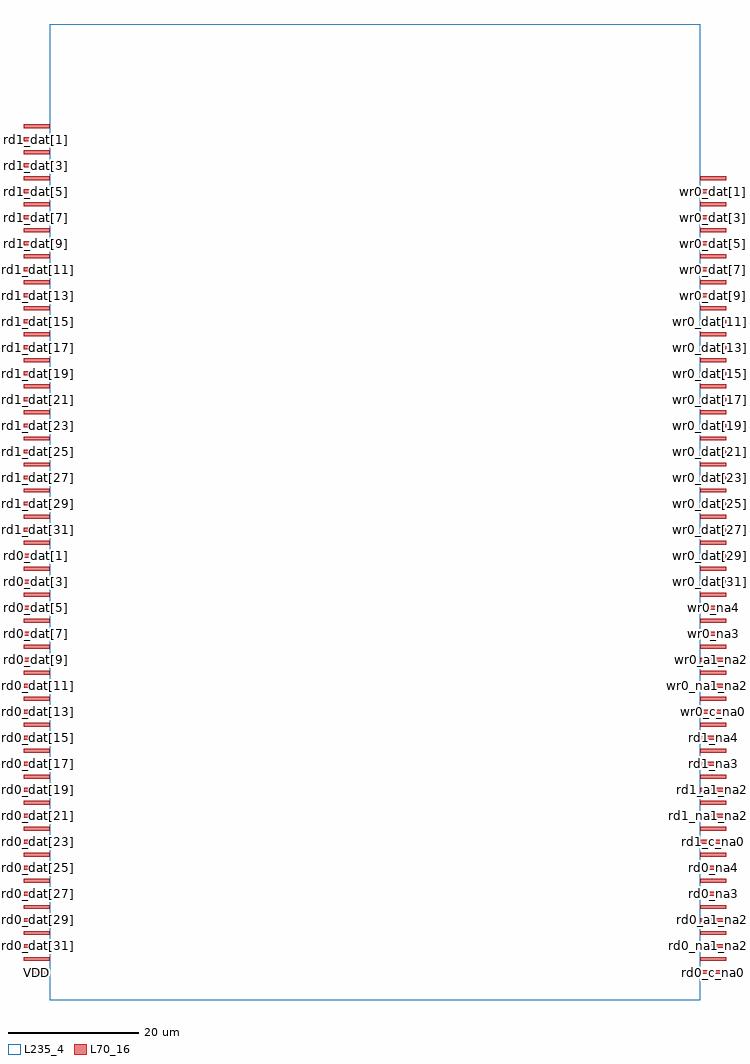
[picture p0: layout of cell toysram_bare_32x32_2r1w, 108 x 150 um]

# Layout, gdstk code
import gdstk
lib = gdstk.Library(unit=1e-6, precision=1e-09)
def R(c, l, rs):  # rectangles x0, y0, x1, y1
    for r in rs: c.add(gdstk.rectangle(r[:2], r[2:], *l))
L70_16 = (70, 16)
L235_4 = (235, 4)

vdd = lib.new_cell('VDD')
R(vdd, L70_16, [(-4,4,0,4.6)])

gnd = lib.new_cell('GND')
R(gnd, L70_16, [(-4,6,0,6.6)])

rd0_c_na0 = lib.new_cell('rd0_c_na0')
R(rd0_c_na0, L70_16, [(100,4,104,4.6)])

rd0_c_a0 = lib.new_cell('rd0_c_a0')
R(rd0_c_a0, L70_16, [(100,6,104,6.6)])

rd0_na1_na2 = lib.new_cell('rd0_na1_na2')
R(rd0_na1_na2, L70_16, [(100,8,104,8.6)])

rd0_na1_a2 = lib.new_cell('rd0_na1_a2')
R(rd0_na1_a2, L70_16, [(100,10,104,10.6)])

rd0_a1_na2 = lib.new_cell('rd0_a1_na2')
R(rd0_a1_na2, L70_16, [(100,12,104,12.6)])

rd0_a1_a2 = lib.new_cell('rd0_a1_a2')
R(rd0_a1_a2, L70_16, [(100,14,104,14.6)])

rd0_na3 = lib.new_cell('rd0_na3')
R(rd0_na3, L70_16, [(100,16,104,16.6)])

rd0_a3 = lib.new_cell('rd0_a3')
R(rd0_a3, L70_16, [(100,18,104,18.6)])

rd0_na4 = lib.new_cell('rd0_na4')
R(rd0_na4, L70_16, [(100,20,104,20.6)])

rd0_a4 = lib.new_cell('rd0_a4')
R(rd0_a4, L70_16, [(100,22,104,22.6)])

rd1_c_na0 = lib.new_cell('rd1_c_na0')
R(rd1_c_na0, L70_16, [(100,24,104,24.6)])

rd1_c_a0 = lib.new_cell('rd1_c_a0')
R(rd1_c_a0, L70_16, [(100,26,104,26.6)])

rd1_na1_na2 = lib.new_cell('rd1_na1_na2')
R(rd1_na1_na2, L70_16, [(100,28,104,28.6)])

rd1_na1_a2 = lib.new_cell('rd1_na1_a2')
R(rd1_na1_a2, L70_16, [(100,30,104,30.6)])

rd1_a1_na2 = lib.new_cell('rd1_a1_na2')
R(rd1_a1_na2, L70_16, [(100,32,104,32.6)])

rd1_a1_a2 = lib.new_cell('rd1_a1_a2')
R(rd1_a1_a2, L70_16, [(100,34,104,34.6)])

rd1_na3 = lib.new_cell('rd1_na3')
R(rd1_na3, L70_16, [(100,36,104,36.6)])

rd1_a3 = lib.new_cell('rd1_a3')
R(rd1_a3, L70_16, [(100,38,104,38.6)])

rd1_na4 = lib.new_cell('rd1_na4')
R(rd1_na4, L70_16, [(100,40,104,40.6)])

rd1_a4 = lib.new_cell('rd1_a4')
R(rd1_a4, L70_16, [(100,42,104,42.6)])

wr0_c_na0 = lib.new_cell('wr0_c_na0')
R(wr0_c_na0, L70_16, [(100,44,104,44.6)])

wr0_c_a0 = lib.new_cell('wr0_c_a0')
R(wr0_c_a0, L70_16, [(100,46,104,46.6)])

wr0_na1_na2 = lib.new_cell('wr0_na1_na2')
R(wr0_na1_na2, L70_16, [(100,48,104,48.6)])

wr0_na1_a2 = lib.new_cell('wr0_na1_a2')
R(wr0_na1_a2, L70_16, [(100,50,104,50.6)])

wr0_a1_na2 = lib.new_cell('wr0_a1_na2')
R(wr0_a1_na2, L70_16, [(100,52,104,52.6)])

wr0_a1_a2 = lib.new_cell('wr0_a1_a2')
R(wr0_a1_a2, L70_16, [(100,54,104,54.6)])

wr0_na3 = lib.new_cell('wr0_na3')
R(wr0_na3, L70_16, [(100,56,104,56.6)])

wr0_a3 = lib.new_cell('wr0_a3')
R(wr0_a3, L70_16, [(100,58,104,58.6)])

wr0_na4 = lib.new_cell('wr0_na4')
R(wr0_na4, L70_16, [(100,60,104,60.6)])

wr0_a4 = lib.new_cell('wr0_a4')
R(wr0_a4, L70_16, [(100,62,104,62.6)])

rd0_dat_31_ = lib.new_cell('rd0_dat[31]')
R(rd0_dat_31_, L70_16, [(-4,8,0,8.6)])

rd0_dat_30_ = lib.new_cell('rd0_dat[30]')
R(rd0_dat_30_, L70_16, [(-4,10,0,10.6)])

rd0_dat_29_ = lib.new_cell('rd0_dat[29]')
R(rd0_dat_29_, L70_16, [(-4,12,0,12.6)])

rd0_dat_28_ = lib.new_cell('rd0_dat[28]')
R(rd0_dat_28_, L70_16, [(-4,14,0,14.6)])

rd0_dat_27_ = lib.new_cell('rd0_dat[27]')
R(rd0_dat_27_, L70_16, [(-4,16,0,16.6)])

rd0_dat_26_ = lib.new_cell('rd0_dat[26]')
R(rd0_dat_26_, L70_16, [(-4,18,0,18.6)])

rd0_dat_25_ = lib.new_cell('rd0_dat[25]')
R(rd0_dat_25_, L70_16, [(-4,20,0,20.6)])

rd0_dat_24_ = lib.new_cell('rd0_dat[24]')
R(rd0_dat_24_, L70_16, [(-4,22,0,22.6)])

rd0_dat_23_ = lib.new_cell('rd0_dat[23]')
R(rd0_dat_23_, L70_16, [(-4,24,0,24.6)])

rd0_dat_22_ = lib.new_cell('rd0_dat[22]')
R(rd0_dat_22_, L70_16, [(-4,26,0,26.6)])

rd0_dat_21_ = lib.new_cell('rd0_dat[21]')
R(rd0_dat_21_, L70_16, [(-4,28,0,28.6)])

rd0_dat_20_ = lib.new_cell('rd0_dat[20]')
R(rd0_dat_20_, L70_16, [(-4,30,0,30.6)])

rd0_dat_19_ = lib.new_cell('rd0_dat[19]')
R(rd0_dat_19_, L70_16, [(-4,32,0,32.6)])

rd0_dat_18_ = lib.new_cell('rd0_dat[18]')
R(rd0_dat_18_, L70_16, [(-4,34,0,34.6)])

rd0_dat_17_ = lib.new_cell('rd0_dat[17]')
R(rd0_dat_17_, L70_16, [(-4,36,0,36.6)])

rd0_dat_16_ = lib.new_cell('rd0_dat[16]')
R(rd0_dat_16_, L70_16, [(-4,38,0,38.6)])

rd0_dat_15_ = lib.new_cell('rd0_dat[15]')
R(rd0_dat_15_, L70_16, [(-4,40,0,40.6)])

rd0_dat_14_ = lib.new_cell('rd0_dat[14]')
R(rd0_dat_14_, L70_16, [(-4,42,0,42.6)])

rd0_dat_13_ = lib.new_cell('rd0_dat[13]')
R(rd0_dat_13_, L70_16, [(-4,44,0,44.6)])

rd0_dat_12_ = lib.new_cell('rd0_dat[12]')
R(rd0_dat_12_, L70_16, [(-4,46,0,46.6)])

rd0_dat_11_ = lib.new_cell('rd0_dat[11]')
R(rd0_dat_11_, L70_16, [(-4,48,0,48.6)])

rd0_dat_10_ = lib.new_cell('rd0_dat[10]')
R(rd0_dat_10_, L70_16, [(-4,50,0,50.6)])

rd0_dat_9_ = lib.new_cell('rd0_dat[9]')
R(rd0_dat_9_, L70_16, [(-4,52,0,52.6)])

rd0_dat_8_ = lib.new_cell('rd0_dat[8]')
R(rd0_dat_8_, L70_16, [(-4,54,0,54.6)])

rd0_dat_7_ = lib.new_cell('rd0_dat[7]')
R(rd0_dat_7_, L70_16, [(-4,56,0,56.6)])

rd0_dat_6_ = lib.new_cell('rd0_dat[6]')
R(rd0_dat_6_, L70_16, [(-4,58,0,58.6)])

rd0_dat_5_ = lib.new_cell('rd0_dat[5]')
R(rd0_dat_5_, L70_16, [(-4,60,0,60.6)])

rd0_dat_4_ = lib.new_cell('rd0_dat[4]')
R(rd0_dat_4_, L70_16, [(-4,62,0,62.6)])

rd0_dat_3_ = lib.new_cell('rd0_dat[3]')
R(rd0_dat_3_, L70_16, [(-4,64,0,64.6)])

rd0_dat_2_ = lib.new_cell('rd0_dat[2]')
R(rd0_dat_2_, L70_16, [(-4,66,0,66.6)])

rd0_dat_1_ = lib.new_cell('rd0_dat[1]')
R(rd0_dat_1_, L70_16, [(-4,68,0,68.6)])

rd0_dat_0_ = lib.new_cell('rd0_dat[0]')
R(rd0_dat_0_, L70_16, [(-4,70,0,70.6)])

rd1_dat_31_ = lib.new_cell('rd1_dat[31]')
R(rd1_dat_31_, L70_16, [(-4,72,0,72.6)])

rd1_dat_30_ = lib.new_cell('rd1_dat[30]')
R(rd1_dat_30_, L70_16, [(-4,74,0,74.6)])

rd1_dat_29_ = lib.new_cell('rd1_dat[29]')
R(rd1_dat_29_, L70_16, [(-4,76,0,76.6)])

rd1_dat_28_ = lib.new_cell('rd1_dat[28]')
R(rd1_dat_28_, L70_16, [(-4,78,0,78.6)])

rd1_dat_27_ = lib.new_cell('rd1_dat[27]')
R(rd1_dat_27_, L70_16, [(-4,80,0,80.6)])

rd1_dat_26_ = lib.new_cell('rd1_dat[26]')
R(rd1_dat_26_, L70_16, [(-4,82,0,82.6)])

rd1_dat_25_ = lib.new_cell('rd1_dat[25]')
R(rd1_dat_25_, L70_16, [(-4,84,0,84.6)])

rd1_dat_24_ = lib.new_cell('rd1_dat[24]')
R(rd1_dat_24_, L70_16, [(-4,86,0,86.6)])

rd1_dat_23_ = lib.new_cell('rd1_dat[23]')
R(rd1_dat_23_, L70_16, [(-4,88,0,88.6)])

rd1_dat_22_ = lib.new_cell('rd1_dat[22]')
R(rd1_dat_22_, L70_16, [(-4,90,0,90.6)])

rd1_dat_21_ = lib.new_cell('rd1_dat[21]')
R(rd1_dat_21_, L70_16, [(-4,92,0,92.6)])

rd1_dat_20_ = lib.new_cell('rd1_dat[20]')
R(rd1_dat_20_, L70_16, [(-4,94,0,94.6)])

rd1_dat_19_ = lib.new_cell('rd1_dat[19]')
R(rd1_dat_19_, L70_16, [(-4,96,0,96.6)])

rd1_dat_18_ = lib.new_cell('rd1_dat[18]')
R(rd1_dat_18_, L70_16, [(-4,98,0,98.6)])

rd1_dat_17_ = lib.new_cell('rd1_dat[17]')
R(rd1_dat_17_, L70_16, [(-4,100,0,100.6)])

rd1_dat_16_ = lib.new_cell('rd1_dat[16]')
R(rd1_dat_16_, L70_16, [(-4,102,0,102.6)])

rd1_dat_15_ = lib.new_cell('rd1_dat[15]')
R(rd1_dat_15_, L70_16, [(-4,104,0,104.6)])

rd1_dat_14_ = lib.new_cell('rd1_dat[14]')
R(rd1_dat_14_, L70_16, [(-4,106,0,106.6)])

rd1_dat_13_ = lib.new_cell('rd1_dat[13]')
R(rd1_dat_13_, L70_16, [(-4,108,0,108.6)])

rd1_dat_12_ = lib.new_cell('rd1_dat[12]')
R(rd1_dat_12_, L70_16, [(-4,110,0,110.6)])

rd1_dat_11_ = lib.new_cell('rd1_dat[11]')
R(rd1_dat_11_, L70_16, [(-4,112,0,112.6)])

rd1_dat_10_ = lib.new_cell('rd1_dat[10]')
R(rd1_dat_10_, L70_16, [(-4,114,0,114.6)])

rd1_dat_9_ = lib.new_cell('rd1_dat[9]')
R(rd1_dat_9_, L70_16, [(-4,116,0,116.6)])

rd1_dat_8_ = lib.new_cell('rd1_dat[8]')
R(rd1_dat_8_, L70_16, [(-4,118,0,118.6)])

rd1_dat_7_ = lib.new_cell('rd1_dat[7]')
R(rd1_dat_7_, L70_16, [(-4,120,0,120.6)])

rd1_dat_6_ = lib.new_cell('rd1_dat[6]')
R(rd1_dat_6_, L70_16, [(-4,122,0,122.6)])

rd1_dat_5_ = lib.new_cell('rd1_dat[5]')
R(rd1_dat_5_, L70_16, [(-4,124,0,124.6)])

rd1_dat_4_ = lib.new_cell('rd1_dat[4]')
R(rd1_dat_4_, L70_16, [(-4,126,0,126.6)])

rd1_dat_3_ = lib.new_cell('rd1_dat[3]')
R(rd1_dat_3_, L70_16, [(-4,128,0,128.6)])

rd1_dat_2_ = lib.new_cell('rd1_dat[2]')
R(rd1_dat_2_, L70_16, [(-4,130,0,130.6)])

rd1_dat_1_ = lib.new_cell('rd1_dat[1]')
R(rd1_dat_1_, L70_16, [(-4,132,0,132.6)])

rd1_dat_0_ = lib.new_cell('rd1_dat[0]')
R(rd1_dat_0_, L70_16, [(-4,134,0,134.6)])

wr0_dat_31_ = lib.new_cell('wr0_dat[31]')
R(wr0_dat_31_, L70_16, [(100,64,104,64.6)])

wr0_dat_30_ = lib.new_cell('wr0_dat[30]')
R(wr0_dat_30_, L70_16, [(100,66,104,66.6)])

wr0_dat_29_ = lib.new_cell('wr0_dat[29]')
R(wr0_dat_29_, L70_16, [(100,68,104,68.6)])

wr0_dat_28_ = lib.new_cell('wr0_dat[28]')
R(wr0_dat_28_, L70_16, [(100,70,104,70.6)])

wr0_dat_27_ = lib.new_cell('wr0_dat[27]')
R(wr0_dat_27_, L70_16, [(100,72,104,72.6)])

wr0_dat_26_ = lib.new_cell('wr0_dat[26]')
R(wr0_dat_26_, L70_16, [(100,74,104,74.6)])

wr0_dat_25_ = lib.new_cell('wr0_dat[25]')
R(wr0_dat_25_, L70_16, [(100,76,104,76.6)])

wr0_dat_24_ = lib.new_cell('wr0_dat[24]')
R(wr0_dat_24_, L70_16, [(100,78,104,78.6)])

wr0_dat_23_ = lib.new_cell('wr0_dat[23]')
R(wr0_dat_23_, L70_16, [(100,80,104,80.6)])

wr0_dat_22_ = lib.new_cell('wr0_dat[22]')
R(wr0_dat_22_, L70_16, [(100,82,104,82.6)])

wr0_dat_21_ = lib.new_cell('wr0_dat[21]')
R(wr0_dat_21_, L70_16, [(100,84,104,84.6)])

wr0_dat_20_ = lib.new_cell('wr0_dat[20]')
R(wr0_dat_20_, L70_16, [(100,86,104,86.6)])

wr0_dat_19_ = lib.new_cell('wr0_dat[19]')
R(wr0_dat_19_, L70_16, [(100,88,104,88.6)])

wr0_dat_18_ = lib.new_cell('wr0_dat[18]')
R(wr0_dat_18_, L70_16, [(100,90,104,90.6)])

wr0_dat_17_ = lib.new_cell('wr0_dat[17]')
R(wr0_dat_17_, L70_16, [(100,92,104,92.6)])

wr0_dat_16_ = lib.new_cell('wr0_dat[16]')
R(wr0_dat_16_, L70_16, [(100,94,104,94.6)])

wr0_dat_15_ = lib.new_cell('wr0_dat[15]')
R(wr0_dat_15_, L70_16, [(100,96,104,96.6)])

wr0_dat_14_ = lib.new_cell('wr0_dat[14]')
R(wr0_dat_14_, L70_16, [(100,98,104,98.6)])

wr0_dat_13_ = lib.new_cell('wr0_dat[13]')
R(wr0_dat_13_, L70_16, [(100,100,104,100.6)])

wr0_dat_12_ = lib.new_cell('wr0_dat[12]')
R(wr0_dat_12_, L70_16, [(100,102,104,102.6)])

wr0_dat_11_ = lib.new_cell('wr0_dat[11]')
R(wr0_dat_11_, L70_16, [(100,104,104,104.6)])

wr0_dat_10_ = lib.new_cell('wr0_dat[10]')
R(wr0_dat_10_, L70_16, [(100,106,104,106.6)])

wr0_dat_9_ = lib.new_cell('wr0_dat[9]')
R(wr0_dat_9_, L70_16, [(100,108,104,108.6)])

wr0_dat_8_ = lib.new_cell('wr0_dat[8]')
R(wr0_dat_8_, L70_16, [(100,110,104,110.6)])

wr0_dat_7_ = lib.new_cell('wr0_dat[7]')
R(wr0_dat_7_, L70_16, [(100,112,104,112.6)])

wr0_dat_6_ = lib.new_cell('wr0_dat[6]')
R(wr0_dat_6_, L70_16, [(100,114,104,114.6)])

wr0_dat_5_ = lib.new_cell('wr0_dat[5]')
R(wr0_dat_5_, L70_16, [(100,116,104,116.6)])

wr0_dat_4_ = lib.new_cell('wr0_dat[4]')
R(wr0_dat_4_, L70_16, [(100,118,104,118.6)])

wr0_dat_3_ = lib.new_cell('wr0_dat[3]')
R(wr0_dat_3_, L70_16, [(100,120,104,120.6)])

wr0_dat_2_ = lib.new_cell('wr0_dat[2]')
R(wr0_dat_2_, L70_16, [(100,122,104,122.6)])

wr0_dat_1_ = lib.new_cell('wr0_dat[1]')
R(wr0_dat_1_, L70_16, [(100,124,104,124.6)])

wr0_dat_0_ = lib.new_cell('wr0_dat[0]')
R(wr0_dat_0_, L70_16, [(100,126,104,126.6)])

toysram_bare_32x32_2r1w = lib.new_cell('toysram_bare_32x32_2r1w')
R(toysram_bare_32x32_2r1w, L235_4, [(0,0,100,150)])
toysram_bare_32x32_2r1w.add(gdstk.Reference(vdd, (0,0)))
toysram_bare_32x32_2r1w.add(gdstk.Reference(gnd, (0,0)))
toysram_bare_32x32_2r1w.add(gdstk.Reference(rd0_c_na0, (0,0)))
toysram_bare_32x32_2r1w.add(gdstk.Reference(rd0_c_a0, (0,0)))
toysram_bare_32x32_2r1w.add(gdstk.Reference(rd0_na1_na2, (0,0)))
toysram_bare_32x32_2r1w.add(gdstk.Reference(rd0_na1_a2, (0,0)))
toysram_bare_32x32_2r1w.add(gdstk.Reference(rd0_a1_na2, (0,0)))
toysram_bare_32x32_2r1w.add(gdstk.Reference(rd0_a1_a2, (0,0)))
toysram_bare_32x32_2r1w.add(gdstk.Reference(rd0_na3, (0,0)))
toysram_bare_32x32_2r1w.add(gdstk.Reference(rd0_a3, (0,0)))
toysram_bare_32x32_2r1w.add(gdstk.Reference(rd0_na4, (0,0)))
toysram_bare_32x32_2r1w.add(gdstk.Reference(rd0_a4, (0,0)))
toysram_bare_32x32_2r1w.add(gdstk.Reference(rd1_c_na0, (0,0)))
toysram_bare_32x32_2r1w.add(gdstk.Reference(rd1_c_a0, (0,0)))
toysram_bare_32x32_2r1w.add(gdstk.Reference(rd1_na1_na2, (0,0)))
toysram_bare_32x32_2r1w.add(gdstk.Reference(rd1_na1_a2, (0,0)))
toysram_bare_32x32_2r1w.add(gdstk.Reference(rd1_a1_na2, (0,0)))
toysram_bare_32x32_2r1w.add(gdstk.Reference(rd1_a1_a2, (0,0)))
toysram_bare_32x32_2r1w.add(gdstk.Reference(rd1_na3, (0,0)))
toysram_bare_32x32_2r1w.add(gdstk.Reference(rd1_a3, (0,0)))
toysram_bare_32x32_2r1w.add(gdstk.Reference(rd1_na4, (0,0)))
toysram_bare_32x32_2r1w.add(gdstk.Reference(rd1_a4, (0,0)))
toysram_bare_32x32_2r1w.add(gdstk.Reference(wr0_c_na0, (0,0)))
toysram_bare_32x32_2r1w.add(gdstk.Reference(wr0_c_a0, (0,0)))
toysram_bare_32x32_2r1w.add(gdstk.Reference(wr0_na1_na2, (0,0)))
toysram_bare_32x32_2r1w.add(gdstk.Reference(wr0_na1_a2, (0,0)))
toysram_bare_32x32_2r1w.add(gdstk.Reference(wr0_a1_na2, (0,0)))
toysram_bare_32x32_2r1w.add(gdstk.Reference(wr0_a1_a2, (0,0)))
toysram_bare_32x32_2r1w.add(gdstk.Reference(wr0_na3, (0,0)))
toysram_bare_32x32_2r1w.add(gdstk.Reference(wr0_a3, (0,0)))
toysram_bare_32x32_2r1w.add(gdstk.Reference(wr0_na4, (0,0)))
toysram_bare_32x32_2r1w.add(gdstk.Reference(wr0_a4, (0,0)))
toysram_bare_32x32_2r1w.add(gdstk.Reference(rd0_dat_31_, (0,0)))
toysram_bare_32x32_2r1w.add(gdstk.Reference(rd0_dat_30_, (0,0)))
toysram_bare_32x32_2r1w.add(gdstk.Reference(rd0_dat_29_, (0,0)))
toysram_bare_32x32_2r1w.add(gdstk.Reference(rd0_dat_28_, (0,0)))
toysram_bare_32x32_2r1w.add(gdstk.Reference(rd0_dat_27_, (0,0)))
toysram_bare_32x32_2r1w.add(gdstk.Reference(rd0_dat_26_, (0,0)))
toysram_bare_32x32_2r1w.add(gdstk.Reference(rd0_dat_25_, (0,0)))
toysram_bare_32x32_2r1w.add(gdstk.Reference(rd0_dat_24_, (0,0)))
toysram_bare_32x32_2r1w.add(gdstk.Reference(rd0_dat_23_, (0,0)))
toysram_bare_32x32_2r1w.add(gdstk.Reference(rd0_dat_22_, (0,0)))
toysram_bare_32x32_2r1w.add(gdstk.Reference(rd0_dat_21_, (0,0)))
toysram_bare_32x32_2r1w.add(gdstk.Reference(rd0_dat_20_, (0,0)))
toysram_bare_32x32_2r1w.add(gdstk.Reference(rd0_dat_19_, (0,0)))
toysram_bare_32x32_2r1w.add(gdstk.Reference(rd0_dat_18_, (0,0)))
toysram_bare_32x32_2r1w.add(gdstk.Reference(rd0_dat_17_, (0,0)))
toysram_bare_32x32_2r1w.add(gdstk.Reference(rd0_dat_16_, (0,0)))
toysram_bare_32x32_2r1w.add(gdstk.Reference(rd0_dat_15_, (0,0)))
toysram_bare_32x32_2r1w.add(gdstk.Reference(rd0_dat_14_, (0,0)))
toysram_bare_32x32_2r1w.add(gdstk.Reference(rd0_dat_13_, (0,0)))
toysram_bare_32x32_2r1w.add(gdstk.Reference(rd0_dat_12_, (0,0)))
toysram_bare_32x32_2r1w.add(gdstk.Reference(rd0_dat_11_, (0,0)))
toysram_bare_32x32_2r1w.add(gdstk.Reference(rd0_dat_10_, (0,0)))
toysram_bare_32x32_2r1w.add(gdstk.Reference(rd0_dat_9_, (0,0)))
toysram_bare_32x32_2r1w.add(gdstk.Reference(rd0_dat_8_, (0,0)))
toysram_bare_32x32_2r1w.add(gdstk.Reference(rd0_dat_7_, (0,0)))
toysram_bare_32x32_2r1w.add(gdstk.Reference(rd0_dat_6_, (0,0)))
toysram_bare_32x32_2r1w.add(gdstk.Reference(rd0_dat_5_, (0,0)))
toysram_bare_32x32_2r1w.add(gdstk.Reference(rd0_dat_4_, (0,0)))
toysram_bare_32x32_2r1w.add(gdstk.Reference(rd0_dat_3_, (0,0)))
toysram_bare_32x32_2r1w.add(gdstk.Reference(rd0_dat_2_, (0,0)))
toysram_bare_32x32_2r1w.add(gdstk.Reference(rd0_dat_1_, (0,0)))
toysram_bare_32x32_2r1w.add(gdstk.Reference(rd0_dat_0_, (0,0)))
toysram_bare_32x32_2r1w.add(gdstk.Reference(rd1_dat_31_, (0,0)))
toysram_bare_32x32_2r1w.add(gdstk.Reference(rd1_dat_30_, (0,0)))
toysram_bare_32x32_2r1w.add(gdstk.Reference(rd1_dat_29_, (0,0)))
toysram_bare_32x32_2r1w.add(gdstk.Reference(rd1_dat_28_, (0,0)))
toysram_bare_32x32_2r1w.add(gdstk.Reference(rd1_dat_27_, (0,0)))
toysram_bare_32x32_2r1w.add(gdstk.Reference(rd1_dat_26_, (0,0)))
toysram_bare_32x32_2r1w.add(gdstk.Reference(rd1_dat_25_, (0,0)))
toysram_bare_32x32_2r1w.add(gdstk.Reference(rd1_dat_24_, (0,0)))
toysram_bare_32x32_2r1w.add(gdstk.Reference(rd1_dat_23_, (0,0)))
toysram_bare_32x32_2r1w.add(gdstk.Reference(rd1_dat_22_, (0,0)))
toysram_bare_32x32_2r1w.add(gdstk.Reference(rd1_dat_21_, (0,0)))
toysram_bare_32x32_2r1w.add(gdstk.Reference(rd1_dat_20_, (0,0)))
toysram_bare_32x32_2r1w.add(gdstk.Reference(rd1_dat_19_, (0,0)))
toysram_bare_32x32_2r1w.add(gdstk.Reference(rd1_dat_18_, (0,0)))
toysram_bare_32x32_2r1w.add(gdstk.Reference(rd1_dat_17_, (0,0)))
toysram_bare_32x32_2r1w.add(gdstk.Reference(rd1_dat_16_, (0,0)))
toysram_bare_32x32_2r1w.add(gdstk.Reference(rd1_dat_15_, (0,0)))
toysram_bare_32x32_2r1w.add(gdstk.Reference(rd1_dat_14_, (0,0)))
toysram_bare_32x32_2r1w.add(gdstk.Reference(rd1_dat_13_, (0,0)))
toysram_bare_32x32_2r1w.add(gdstk.Reference(rd1_dat_12_, (0,0)))
toysram_bare_32x32_2r1w.add(gdstk.Reference(rd1_dat_11_, (0,0)))
toysram_bare_32x32_2r1w.add(gdstk.Reference(rd1_dat_10_, (0,0)))
toysram_bare_32x32_2r1w.add(gdstk.Reference(rd1_dat_9_, (0,0)))
toysram_bare_32x32_2r1w.add(gdstk.Reference(rd1_dat_8_, (0,0)))
toysram_bare_32x32_2r1w.add(gdstk.Reference(rd1_dat_7_, (0,0)))
toysram_bare_32x32_2r1w.add(gdstk.Reference(rd1_dat_6_, (0,0)))
toysram_bare_32x32_2r1w.add(gdstk.Reference(rd1_dat_5_, (0,0)))
toysram_bare_32x32_2r1w.add(gdstk.Reference(rd1_dat_4_, (0,0)))
toysram_bare_32x32_2r1w.add(gdstk.Reference(rd1_dat_3_, (0,0)))
toysram_bare_32x32_2r1w.add(gdstk.Reference(rd1_dat_2_, (0,0)))
toysram_bare_32x32_2r1w.add(gdstk.Reference(rd1_dat_1_, (0,0)))
toysram_bare_32x32_2r1w.add(gdstk.Reference(rd1_dat_0_, (0,0)))
toysram_bare_32x32_2r1w.add(gdstk.Reference(wr0_dat_31_, (0,0)))
toysram_bare_32x32_2r1w.add(gdstk.Reference(wr0_dat_30_, (0,0)))
toysram_bare_32x32_2r1w.add(gdstk.Reference(wr0_dat_29_, (0,0)))
toysram_bare_32x32_2r1w.add(gdstk.Reference(wr0_dat_28_, (0,0)))
toysram_bare_32x32_2r1w.add(gdstk.Reference(wr0_dat_27_, (0,0)))
toysram_bare_32x32_2r1w.add(gdstk.Reference(wr0_dat_26_, (0,0)))
toysram_bare_32x32_2r1w.add(gdstk.Reference(wr0_dat_25_, (0,0)))
toysram_bare_32x32_2r1w.add(gdstk.Reference(wr0_dat_24_, (0,0)))
toysram_bare_32x32_2r1w.add(gdstk.Reference(wr0_dat_23_, (0,0)))
toysram_bare_32x32_2r1w.add(gdstk.Reference(wr0_dat_22_, (0,0)))
toysram_bare_32x32_2r1w.add(gdstk.Reference(wr0_dat_21_, (0,0)))
toysram_bare_32x32_2r1w.add(gdstk.Reference(wr0_dat_20_, (0,0)))
toysram_bare_32x32_2r1w.add(gdstk.Reference(wr0_dat_19_, (0,0)))
toysram_bare_32x32_2r1w.add(gdstk.Reference(wr0_dat_18_, (0,0)))
toysram_bare_32x32_2r1w.add(gdstk.Reference(wr0_dat_17_, (0,0)))
toysram_bare_32x32_2r1w.add(gdstk.Reference(wr0_dat_16_, (0,0)))
toysram_bare_32x32_2r1w.add(gdstk.Reference(wr0_dat_15_, (0,0)))
toysram_bare_32x32_2r1w.add(gdstk.Reference(wr0_dat_14_, (0,0)))
toysram_bare_32x32_2r1w.add(gdstk.Reference(wr0_dat_13_, (0,0)))
toysram_bare_32x32_2r1w.add(gdstk.Reference(wr0_dat_12_, (0,0)))
toysram_bare_32x32_2r1w.add(gdstk.Reference(wr0_dat_11_, (0,0)))
toysram_bare_32x32_2r1w.add(gdstk.Reference(wr0_dat_10_, (0,0)))
toysram_bare_32x32_2r1w.add(gdstk.Reference(wr0_dat_9_, (0,0)))
toysram_bare_32x32_2r1w.add(gdstk.Reference(wr0_dat_8_, (0,0)))
toysram_bare_32x32_2r1w.add(gdstk.Reference(wr0_dat_7_, (0,0)))
toysram_bare_32x32_2r1w.add(gdstk.Reference(wr0_dat_6_, (0,0)))
toysram_bare_32x32_2r1w.add(gdstk.Reference(wr0_dat_5_, (0,0)))
toysram_bare_32x32_2r1w.add(gdstk.Reference(wr0_dat_4_, (0,0)))
toysram_bare_32x32_2r1w.add(gdstk.Reference(wr0_dat_3_, (0,0)))
toysram_bare_32x32_2r1w.add(gdstk.Reference(wr0_dat_2_, (0,0)))
toysram_bare_32x32_2r1w.add(gdstk.Reference(wr0_dat_1_, (0,0)))
toysram_bare_32x32_2r1w.add(gdstk.Reference(wr0_dat_0_, (0,0)))
toysram_bare_32x32_2r1w.add(gdstk.Label('VDD', (-2,4.3), layer=70, texttype=16))
toysram_bare_32x32_2r1w.add(gdstk.Label('GND', (-2,6.3), layer=70, texttype=16))
toysram_bare_32x32_2r1w.add(gdstk.Label('rd0_c_na0', (102,4.3), layer=70, texttype=16))
toysram_bare_32x32_2r1w.add(gdstk.Label('rd0_c_a0', (102,6.3), layer=70, texttype=16))
toysram_bare_32x32_2r1w.add(gdstk.Label('rd0_na1_na2', (102,8.3), layer=70, texttype=16))
toysram_bare_32x32_2r1w.add(gdstk.Label('rd0_na1_a2', (102,10.3), layer=70, texttype=16))
toysram_bare_32x32_2r1w.add(gdstk.Label('rd0_a1_na2', (102,12.3), layer=70, texttype=16))
toysram_bare_32x32_2r1w.add(gdstk.Label('rd0_a1_a2', (102,14.3), layer=70, texttype=16))
toysram_bare_32x32_2r1w.add(gdstk.Label('rd0_na3', (102,16.3), layer=70, texttype=16))
toysram_bare_32x32_2r1w.add(gdstk.Label('rd0_a3', (102,18.3), layer=70, texttype=16))
toysram_bare_32x32_2r1w.add(gdstk.Label('rd0_na4', (102,20.3), layer=70, texttype=16))
toysram_bare_32x32_2r1w.add(gdstk.Label('rd0_a4', (102,22.3), layer=70, texttype=16))
toysram_bare_32x32_2r1w.add(gdstk.Label('rd1_c_na0', (102,24.3), layer=70, texttype=16))
toysram_bare_32x32_2r1w.add(gdstk.Label('rd1_c_a0', (102,26.3), layer=70, texttype=16))
toysram_bare_32x32_2r1w.add(gdstk.Label('rd1_na1_na2', (102,28.3), layer=70, texttype=16))
toysram_bare_32x32_2r1w.add(gdstk.Label('rd1_na1_a2', (102,30.3), layer=70, texttype=16))
toysram_bare_32x32_2r1w.add(gdstk.Label('rd1_a1_na2', (102,32.3), layer=70, texttype=16))
toysram_bare_32x32_2r1w.add(gdstk.Label('rd1_a1_a2', (102,34.3), layer=70, texttype=16))
toysram_bare_32x32_2r1w.add(gdstk.Label('rd1_na3', (102,36.3), layer=70, texttype=16))
toysram_bare_32x32_2r1w.add(gdstk.Label('rd1_a3', (102,38.3), layer=70, texttype=16))
toysram_bare_32x32_2r1w.add(gdstk.Label('rd1_na4', (102,40.3), layer=70, texttype=16))
toysram_bare_32x32_2r1w.add(gdstk.Label('rd1_a4', (102,42.3), layer=70, texttype=16))
toysram_bare_32x32_2r1w.add(gdstk.Label('wr0_c_na0', (102,44.3), layer=70, texttype=16))
toysram_bare_32x32_2r1w.add(gdstk.Label('wr0_c_a0', (102,46.3), layer=70, texttype=16))
toysram_bare_32x32_2r1w.add(gdstk.Label('wr0_na1_na2', (102,48.3), layer=70, texttype=16))
toysram_bare_32x32_2r1w.add(gdstk.Label('wr0_na1_a2', (102,50.3), layer=70, texttype=16))
toysram_bare_32x32_2r1w.add(gdstk.Label('wr0_a1_na2', (102,52.3), layer=70, texttype=16))
toysram_bare_32x32_2r1w.add(gdstk.Label('wr0_a1_a2', (102,54.3), layer=70, texttype=16))
toysram_bare_32x32_2r1w.add(gdstk.Label('wr0_na3', (102,56.3), layer=70, texttype=16))
toysram_bare_32x32_2r1w.add(gdstk.Label('wr0_a3', (102,58.3), layer=70, texttype=16))
toysram_bare_32x32_2r1w.add(gdstk.Label('wr0_na4', (102,60.3), layer=70, texttype=16))
toysram_bare_32x32_2r1w.add(gdstk.Label('wr0_a4', (102,62.3), layer=70, texttype=16))
toysram_bare_32x32_2r1w.add(gdstk.Label('rd0_dat[31]', (-2,8.3), layer=70, texttype=16))
toysram_bare_32x32_2r1w.add(gdstk.Label('rd0_dat[30]', (-2,10.3), layer=70, texttype=16))
toysram_bare_32x32_2r1w.add(gdstk.Label('rd0_dat[29]', (-2,12.3), layer=70, texttype=16))
toysram_bare_32x32_2r1w.add(gdstk.Label('rd0_dat[28]', (-2,14.3), layer=70, texttype=16))
toysram_bare_32x32_2r1w.add(gdstk.Label('rd0_dat[27]', (-2,16.3), layer=70, texttype=16))
toysram_bare_32x32_2r1w.add(gdstk.Label('rd0_dat[26]', (-2,18.3), layer=70, texttype=16))
toysram_bare_32x32_2r1w.add(gdstk.Label('rd0_dat[25]', (-2,20.3), layer=70, texttype=16))
toysram_bare_32x32_2r1w.add(gdstk.Label('rd0_dat[24]', (-2,22.3), layer=70, texttype=16))
toysram_bare_32x32_2r1w.add(gdstk.Label('rd0_dat[23]', (-2,24.3), layer=70, texttype=16))
toysram_bare_32x32_2r1w.add(gdstk.Label('rd0_dat[22]', (-2,26.3), layer=70, texttype=16))
toysram_bare_32x32_2r1w.add(gdstk.Label('rd0_dat[21]', (-2,28.3), layer=70, texttype=16))
toysram_bare_32x32_2r1w.add(gdstk.Label('rd0_dat[20]', (-2,30.3), layer=70, texttype=16))
toysram_bare_32x32_2r1w.add(gdstk.Label('rd0_dat[19]', (-2,32.3), layer=70, texttype=16))
toysram_bare_32x32_2r1w.add(gdstk.Label('rd0_dat[18]', (-2,34.3), layer=70, texttype=16))
toysram_bare_32x32_2r1w.add(gdstk.Label('rd0_dat[17]', (-2,36.3), layer=70, texttype=16))
toysram_bare_32x32_2r1w.add(gdstk.Label('rd0_dat[16]', (-2,38.3), layer=70, texttype=16))
toysram_bare_32x32_2r1w.add(gdstk.Label('rd0_dat[15]', (-2,40.3), layer=70, texttype=16))
toysram_bare_32x32_2r1w.add(gdstk.Label('rd0_dat[14]', (-2,42.3), layer=70, texttype=16))
toysram_bare_32x32_2r1w.add(gdstk.Label('rd0_dat[13]', (-2,44.3), layer=70, texttype=16))
toysram_bare_32x32_2r1w.add(gdstk.Label('rd0_dat[12]', (-2,46.3), layer=70, texttype=16))
toysram_bare_32x32_2r1w.add(gdstk.Label('rd0_dat[11]', (-2,48.3), layer=70, texttype=16))
toysram_bare_32x32_2r1w.add(gdstk.Label('rd0_dat[10]', (-2,50.3), layer=70, texttype=16))
toysram_bare_32x32_2r1w.add(gdstk.Label('rd0_dat[9]', (-2,52.3), layer=70, texttype=16))
toysram_bare_32x32_2r1w.add(gdstk.Label('rd0_dat[8]', (-2,54.3), layer=70, texttype=16))
toysram_bare_32x32_2r1w.add(gdstk.Label('rd0_dat[7]', (-2,56.3), layer=70, texttype=16))
toysram_bare_32x32_2r1w.add(gdstk.Label('rd0_dat[6]', (-2,58.3), layer=70, texttype=16))
toysram_bare_32x32_2r1w.add(gdstk.Label('rd0_dat[5]', (-2,60.3), layer=70, texttype=16))
toysram_bare_32x32_2r1w.add(gdstk.Label('rd0_dat[4]', (-2,62.3), layer=70, texttype=16))
toysram_bare_32x32_2r1w.add(gdstk.Label('rd0_dat[3]', (-2,64.3), layer=70, texttype=16))
toysram_bare_32x32_2r1w.add(gdstk.Label('rd0_dat[2]', (-2,66.3), layer=70, texttype=16))
toysram_bare_32x32_2r1w.add(gdstk.Label('rd0_dat[1]', (-2,68.3), layer=70, texttype=16))
toysram_bare_32x32_2r1w.add(gdstk.Label('rd0_dat[0]', (-2,70.3), layer=70, texttype=16))
toysram_bare_32x32_2r1w.add(gdstk.Label('rd1_dat[31]', (-2,72.3), layer=70, texttype=16))
toysram_bare_32x32_2r1w.add(gdstk.Label('rd1_dat[30]', (-2,74.3), layer=70, texttype=16))
toysram_bare_32x32_2r1w.add(gdstk.Label('rd1_dat[29]', (-2,76.3), layer=70, texttype=16))
toysram_bare_32x32_2r1w.add(gdstk.Label('rd1_dat[28]', (-2,78.3), layer=70, texttype=16))
toysram_bare_32x32_2r1w.add(gdstk.Label('rd1_dat[27]', (-2,80.3), layer=70, texttype=16))
toysram_bare_32x32_2r1w.add(gdstk.Label('rd1_dat[26]', (-2,82.3), layer=70, texttype=16))
toysram_bare_32x32_2r1w.add(gdstk.Label('rd1_dat[25]', (-2,84.3), layer=70, texttype=16))
toysram_bare_32x32_2r1w.add(gdstk.Label('rd1_dat[24]', (-2,86.3), layer=70, texttype=16))
toysram_bare_32x32_2r1w.add(gdstk.Label('rd1_dat[23]', (-2,88.3), layer=70, texttype=16))
toysram_bare_32x32_2r1w.add(gdstk.Label('rd1_dat[22]', (-2,90.3), layer=70, texttype=16))
toysram_bare_32x32_2r1w.add(gdstk.Label('rd1_dat[21]', (-2,92.3), layer=70, texttype=16))
toysram_bare_32x32_2r1w.add(gdstk.Label('rd1_dat[20]', (-2,94.3), layer=70, texttype=16))
toysram_bare_32x32_2r1w.add(gdstk.Label('rd1_dat[19]', (-2,96.3), layer=70, texttype=16))
toysram_bare_32x32_2r1w.add(gdstk.Label('rd1_dat[18]', (-2,98.3), layer=70, texttype=16))
toysram_bare_32x32_2r1w.add(gdstk.Label('rd1_dat[17]', (-2,100.3), layer=70, texttype=16))
toysram_bare_32x32_2r1w.add(gdstk.Label('rd1_dat[16]', (-2,102.3), layer=70, texttype=16))
toysram_bare_32x32_2r1w.add(gdstk.Label('rd1_dat[15]', (-2,104.3), layer=70, texttype=16))
toysram_bare_32x32_2r1w.add(gdstk.Label('rd1_dat[14]', (-2,106.3), layer=70, texttype=16))
toysram_bare_32x32_2r1w.add(gdstk.Label('rd1_dat[13]', (-2,108.3), layer=70, texttype=16))
toysram_bare_32x32_2r1w.add(gdstk.Label('rd1_dat[12]', (-2,110.3), layer=70, texttype=16))
toysram_bare_32x32_2r1w.add(gdstk.Label('rd1_dat[11]', (-2,112.3), layer=70, texttype=16))
toysram_bare_32x32_2r1w.add(gdstk.Label('rd1_dat[10]', (-2,114.3), layer=70, texttype=16))
toysram_bare_32x32_2r1w.add(gdstk.Label('rd1_dat[9]', (-2,116.3), layer=70, texttype=16))
toysram_bare_32x32_2r1w.add(gdstk.Label('rd1_dat[8]', (-2,118.3), layer=70, texttype=16))
toysram_bare_32x32_2r1w.add(gdstk.Label('rd1_dat[7]', (-2,120.3), layer=70, texttype=16))
toysram_bare_32x32_2r1w.add(gdstk.Label('rd1_dat[6]', (-2,122.3), layer=70, texttype=16))
toysram_bare_32x32_2r1w.add(gdstk.Label('rd1_dat[5]', (-2,124.3), layer=70, texttype=16))
toysram_bare_32x32_2r1w.add(gdstk.Label('rd1_dat[4]', (-2,126.3), layer=70, texttype=16))
toysram_bare_32x32_2r1w.add(gdstk.Label('rd1_dat[3]', (-2,128.3), layer=70, texttype=16))
toysram_bare_32x32_2r1w.add(gdstk.Label('rd1_dat[2]', (-2,130.3), layer=70, texttype=16))
toysram_bare_32x32_2r1w.add(gdstk.Label('rd1_dat[1]', (-2,132.3), layer=70, texttype=16))
toysram_bare_32x32_2r1w.add(gdstk.Label('rd1_dat[0]', (-2,134.3), layer=70, texttype=16))
toysram_bare_32x32_2r1w.add(gdstk.Label('wr0_dat[31]', (102,64.3), layer=70, texttype=16))
toysram_bare_32x32_2r1w.add(gdstk.Label('wr0_dat[30]', (102,66.3), layer=70, texttype=16))
toysram_bare_32x32_2r1w.add(gdstk.Label('wr0_dat[29]', (102,68.3), layer=70, texttype=16))
toysram_bare_32x32_2r1w.add(gdstk.Label('wr0_dat[28]', (102,70.3), layer=70, texttype=16))
toysram_bare_32x32_2r1w.add(gdstk.Label('wr0_dat[27]', (102,72.3), layer=70, texttype=16))
toysram_bare_32x32_2r1w.add(gdstk.Label('wr0_dat[26]', (102,74.3), layer=70, texttype=16))
toysram_bare_32x32_2r1w.add(gdstk.Label('wr0_dat[25]', (102,76.3), layer=70, texttype=16))
toysram_bare_32x32_2r1w.add(gdstk.Label('wr0_dat[24]', (102,78.3), layer=70, texttype=16))
toysram_bare_32x32_2r1w.add(gdstk.Label('wr0_dat[23]', (102,80.3), layer=70, texttype=16))
toysram_bare_32x32_2r1w.add(gdstk.Label('wr0_dat[22]', (102,82.3), layer=70, texttype=16))
toysram_bare_32x32_2r1w.add(gdstk.Label('wr0_dat[21]', (102,84.3), layer=70, texttype=16))
toysram_bare_32x32_2r1w.add(gdstk.Label('wr0_dat[20]', (102,86.3), layer=70, texttype=16))
toysram_bare_32x32_2r1w.add(gdstk.Label('wr0_dat[19]', (102,88.3), layer=70, texttype=16))
toysram_bare_32x32_2r1w.add(gdstk.Label('wr0_dat[18]', (102,90.3), layer=70, texttype=16))
toysram_bare_32x32_2r1w.add(gdstk.Label('wr0_dat[17]', (102,92.3), layer=70, texttype=16))
toysram_bare_32x32_2r1w.add(gdstk.Label('wr0_dat[16]', (102,94.3), layer=70, texttype=16))
toysram_bare_32x32_2r1w.add(gdstk.Label('wr0_dat[15]', (102,96.3), layer=70, texttype=16))
toysram_bare_32x32_2r1w.add(gdstk.Label('wr0_dat[14]', (102,98.3), layer=70, texttype=16))
toysram_bare_32x32_2r1w.add(gdstk.Label('wr0_dat[13]', (102,100.3), layer=70, texttype=16))
toysram_bare_32x32_2r1w.add(gdstk.Label('wr0_dat[12]', (102,102.3), layer=70, texttype=16))
toysram_bare_32x32_2r1w.add(gdstk.Label('wr0_dat[11]', (102,104.3), layer=70, texttype=16))
toysram_bare_32x32_2r1w.add(gdstk.Label('wr0_dat[10]', (102,106.3), layer=70, texttype=16))
toysram_bare_32x32_2r1w.add(gdstk.Label('wr0_dat[9]', (102,108.3), layer=70, texttype=16))
toysram_bare_32x32_2r1w.add(gdstk.Label('wr0_dat[8]', (102,110.3), layer=70, texttype=16))
toysram_bare_32x32_2r1w.add(gdstk.Label('wr0_dat[7]', (102,112.3), layer=70, texttype=16))
toysram_bare_32x32_2r1w.add(gdstk.Label('wr0_dat[6]', (102,114.3), layer=70, texttype=16))
toysram_bare_32x32_2r1w.add(gdstk.Label('wr0_dat[5]', (102,116.3), layer=70, texttype=16))
toysram_bare_32x32_2r1w.add(gdstk.Label('wr0_dat[4]', (102,118.3), layer=70, texttype=16))
toysram_bare_32x32_2r1w.add(gdstk.Label('wr0_dat[3]', (102,120.3), layer=70, texttype=16))
toysram_bare_32x32_2r1w.add(gdstk.Label('wr0_dat[2]', (102,122.3), layer=70, texttype=16))
toysram_bare_32x32_2r1w.add(gdstk.Label('wr0_dat[1]', (102,124.3), layer=70, texttype=16))
toysram_bare_32x32_2r1w.add(gdstk.Label('wr0_dat[0]', (102,126.3), layer=70, texttype=16))

lib.write_gds('toysram_bare_32x32_2r1w.gds')
